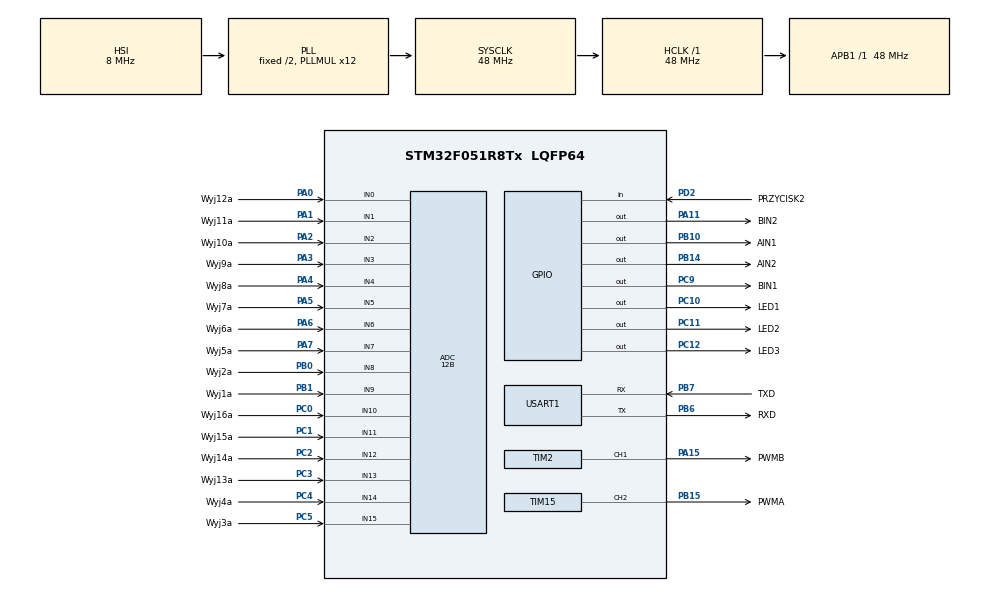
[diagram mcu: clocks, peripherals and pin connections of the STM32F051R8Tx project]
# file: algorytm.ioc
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ADC.ClockPrescaler=ADC_CLOCK_ASYNC_DIV1
ADC.ContinuousConvMode=ENABLE
ADC.DMAContinuousRequests=ENABLE
ADC.DataAlign=ADC_DATAALIGN_RIGHT
ADC.DiscontinuousConvMode=DISABLE
ADC.EOCSelection=ADC_EOC_SINGLE_CONV
ADC.EnableAnalogWatchDog=false
ADC.ExternalTrigConvEdge=ADC_EXTERNALTRIGCONVEDGE_NONE
ADC.LowPowerAutoPowerOff=DISABLE
ADC.LowPowerAutoWait=DISABLE
ADC.Overrun=ADC_OVR_DATA_PRESERVED
ADC.Resolution=ADC_RESOLUTION_12B
ADC.SamplingTime=ADC_SAMPLETIME_239CYCLES_5
ADC.ScanConvMode=ADC_SCAN_DIRECTION_FORWARD
Dma.ADC.0.Direction=DMA_PERIPH_TO_MEMORY
Dma.ADC.0.Instance=DMA1_Channel1
Dma.ADC.0.MemDataAlignment=DMA_MDATAALIGN_WORD
Dma.ADC.0.MemInc=DMA_MINC_ENABLE
Dma.ADC.0.Mode=DMA_CIRCULAR
Dma.ADC.0.PeriphDataAlignment=DMA_PDATAALIGN_WORD
Dma.ADC.0.PeriphInc=DMA_PINC_DISABLE
Dma.ADC.0.Priority=DMA_PRIORITY_LOW
Dma.Request0=ADC
Mcu.Family=STM32F0
Mcu.Name=STM32F051R8Tx
Mcu.Package=LQFP64
NVIC.DMA1_Channel1_IRQn=true\:0\:0\:false\:false\:true
NVIC.TIM16_IRQn=true\:0\:0\:false\:false\:true
NVIC.USART1_IRQn=true\:0\:0\:false\:false\:true
PA0.GPIO_Label=Wyj12a
PA0.Mode=IN0
PA0.Signal=ADC_IN0
PA1.GPIO_Label=Wyj11a
PA1.Mode=IN1
PA1.Signal=ADC_IN1
PA11.GPIO_Label=BIN2
PA11.Signal=GPIO_Output
PA13.Mode=Serial_Wire
PA13.Signal=SYS_SWDIO
PA14.Mode=Serial_Wire
PA14.Signal=SYS_SWCLK
PA15.GPIO_Label=PWMB
PA15.Signal=S_TIM2_CH1_ETR
PA2.GPIO_Label=Wyj10a
PA2.Mode=IN2
PA2.Signal=ADC_IN2
PA3.GPIO_Label=Wyj9a
PA3.Mode=IN3
PA3.Signal=ADC_IN3
PA4.GPIO_Label=Wyj8a
PA4.Mode=IN4
PA4.Signal=ADC_IN4
PA5.GPIO_Label=Wyj7a
PA5.Mode=IN5
PA5.Signal=ADC_IN5
PA6.GPIO_Label=Wyj6a
PA6.Mode=IN6
PA6.Signal=ADC_IN6
PA7.GPIO_Label=Wyj5a
PA7.Mode=IN7
PA7.Signal=ADC_IN7
PB0.GPIO_Label=Wyj2a
PB0.Mode=IN8
PB0.Signal=ADC_IN8
PB1.GPIO_Label=Wyj1a
PB1.Mode=IN9
PB1.Signal=ADC_IN9
PB10.GPIO_Label=AIN1
PB10.Signal=GPIO_Output
PB14.GPIO_Label=AIN2
PB14.Signal=GPIO_Output
PB15.GPIO_Label=PWMA
PB15.Signal=S_TIM15_CH2
PB6.GPIO_Label=RXD
PB6.Mode=Asynchronous
PB6.Signal=USART1_TX
PB7.GPIO_Label=TXD
PB7.Mode=Asynchronous
PB7.Signal=USART1_RX
PC0.GPIO_Label=Wyj16a
PC0.Mode=IN10
PC0.Signal=ADC_IN10
PC1.GPIO_Label=Wyj15a
PC1.Mode=IN11
PC1.Signal=ADC_IN11
PC10.GPIO_Label=LED1
PC10.Signal=GPIO_Output
PC11.GPIO_Label=LED2
PC11.Signal=GPIO_Output
PC12.GPIO_Label=LED3
PC12.Signal=GPIO_Output
PC2.GPIO_Label=Wyj14a
PC2.Mode=IN12
PC2.Signal=ADC_IN12
PC3.GPIO_Label=Wyj13a
PC3.Mode=IN13
PC3.Signal=ADC_IN13
PC4.GPIO_Label=Wyj4a
PC4.Mode=IN14
PC4.Signal=ADC_IN14
PC5.GPIO_Label=Wyj3a
PC5.Mode=IN15
PC5.Signal=ADC_IN15
PC9.GPIO_Label=BIN1
PC9.Signal=GPIO_Output
PD2.GPIO_Label=PRZYCISK2
PD2.Signal=GPIO_Input
ProjectManager.HeapSize=0x200
ProjectManager.StackSize=0x400
ProjectManager.TargetToolchain=SW4STM32
RCC.AHBFreq_Value=48000000
RCC.APB1Freq_Value=48000000
RCC.APB1TimFreq_Value=48000000
RCC.HCLKFreq_Value=48000000
RCC.PLLMUL=RCC_PLL_MUL12
RCC.SYSCLKFreq_VALUE=48000000
RCC.SYSCLKSource=RCC_SYSCLKSOURCE_PLLCLK
SH.S_TIM15_CH2.0=TIM15_CH2,PWM Generation2 CH2
SH.S_TIM2_CH1_ETR.0=TIM2_CH1,PWM Generation1 CH1
TIM15.Channel-PWM\ Generation2\ CH2=TIM_CHANNEL_2
TIM15.Period=999
TIM15.Prescaler=47
TIM16.Period=9999
TIM16.Prescaler=47
TIM2.Period=999
TIM2.Prescaler=47
VP_TIM15_VS_ClockSourceINT.Mode=Internal
VP_TIM16_VS_ClockSourceINT.Mode=Enable_Timer
VP_TIM2_VS_ClockSourceINT.Mode=Internal
board=algorytm

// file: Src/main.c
/**
 ******************************************************************************
 * File Name          : main.c
 * Description        : Main program body
 ******************************************************************************
 *
 * COPYRIGHT(c) 2016 STMicroelectronics
 *
 * Redistribution and use in source and binary forms, with or without modification,
 * are permitted provided that the following conditions are met:
 *   1. Redistributions of source code must retain the above copyright notice,
 *      this list of conditions and the following disclaimer.
 *   2. Redistributions in binary form must reproduce the above copyright notice,
 *      this list of conditions and the following disclaimer in the documentation
 *      and/or other materials provided with the distribution.
 *   3. Neither the name of STMicroelectronics nor the names of its contributors
 *      may be used to endorse or promote products derived from this software
 *      without specific prior written permission.
 *
 * THIS SOFTWARE IS PROVIDED BY THE COPYRIGHT HOLDERS AND CONTRIBUTORS "AS IS"
 * AND ANY EXPRESS OR IMPLIED WARRANTIES, INCLUDING, BUT NOT LIMITED TO, THE
 * IMPLIED WARRANTIES OF MERCHANTABILITY AND FITNESS FOR A PARTICULAR PURPOSE ARE
 * DISCLAIMED. IN NO EVENT SHALL THE COPYRIGHT HOLDER OR CONTRIBUTORS BE LIABLE
 * FOR ANY DIRECT, INDIRECT, INCIDENTAL, SPECIAL, EXEMPLARY, OR CONSEQUENTIAL
 * DAMAGES (INCLUDING, BUT NOT LIMITED TO, PROCUREMENT OF SUBSTITUTE GOODS OR
 * SERVICES; LOSS OF USE, DATA, OR PROFITS; OR BUSINESS INTERRUPTION) HOWEVER
 * CAUSED AND ON ANY THEORY OF LIABILITY, WHETHER IN CONTRACT, STRICT LIABILITY,
 * OR TORT (INCLUDING NEGLIGENCE OR OTHERWISE) ARISING IN ANY WAY OUT OF THE USE
 * OF THIS SOFTWARE, EVEN IF ADVISED OF THE POSSIBILITY OF SUCH DAMAGE.
 *
 ******************************************************************************
 */
#include "main.h"
#include "stm32f0xx_hal.h"

ADC_HandleTypeDef hadc;
DMA_HandleTypeDef hdma_adc;

TIM_HandleTypeDef htim2;
TIM_HandleTypeDef htim15;
TIM_HandleTypeDef htim16;

UART_HandleTypeDef huart1;

/* USER CODE BEGIN PV */
/* Private variables ---------------------------------------------------------*/

/* USER CODE END PV */

void SystemClock_Config(void);
void Error_Handler(void);
static void MX_GPIO_Init(void);
static void MX_DMA_Init(void);
static void MX_ADC_Init(void);
static void MX_TIM2_Init(void);
static void MX_TIM15_Init(void);
static void MX_USART1_UART_Init(void);
static void MX_TIM16_Init(void);

void HAL_TIM_MspPostInit(TIM_HandleTypeDef *htim);

/* USER CODE BEGIN PFP */
/* Private function prototypes -----------------------------------------------*/

uint32_t ADCData[16];
uint16_t Limit = 2500;
int16_t KTIRLine[16];
int16_t Weight[16];
volatile int16_t Error = 0;
uint16_t Speed = 900;
uint16_t P = 20 , D = 8;
uint16_t devide = 0;
volatile int16_t preverror = 0;
volatile int16_t derivative = 0;
int16_t Left, Right;
volatile uint8_t Start = 0;

/* USER CODE END PFP */

/* USER CODE BEGIN 0 */

void HAL_TIM_PeriodElapsedCallback(TIM_HandleTypeDef *htim) {
	if (htim->Instance == TIM16) {
		Error = 0;
		for (int i = 0; i < 16; ++i) {
			if (ADCData[i] > Limit) {
				KTIRLine[i] = 1;
			} else {
				KTIRLine[i] = 0;
			}
		}

		devide = 0;

		for (int i = 0; i < 16; ++i) {
			devide += KTIRLine[i];
			Error += KTIRLine[i] * Weight[i];
		}

		if (devide == 0) {
			Error = preverror;

			Right = Speed - Error * P;
			Left = Speed + Error * P;

		} else {

			derivative = Error - preverror;

			Error /= devide;

			Right = Speed - Error * P - derivative * D;
			Left = Speed + Error  * P + derivative * D;

			if (Right > 0) {

				HAL_GPIO_WritePin(BIN1_GPIO_Port, BIN1_Pin, 0);
				HAL_GPIO_WritePin(BIN2_GPIO_Port, BIN2_Pin, 1);

				if (Right > 1000) {
					Right = 999;
				}
			} else if (Right < 0) {

				HAL_GPIO_WritePin(BIN1_GPIO_Port, BIN1_Pin, 1);
				HAL_GPIO_WritePin(BIN2_GPIO_Port, BIN2_Pin, 0);
				Right = -Right;
				if (Right > 1000) {
					Right = 999;
				}
			}
			TIM2->CCR1 = Right;

			if (Left > 0) {
				HAL_GPIO_WritePin(AIN1_GPIO_Port, AIN1_Pin, 1);
				HAL_GPIO_WritePin(AIN2_GPIO_Port, AIN2_Pin, 0);

				if (Left > 1000) {
					Left = 999;
				}
			} else if (Left < 0) {
				HAL_GPIO_WritePin(AIN1_GPIO_Port, AIN1_Pin, 0);
				HAL_GPIO_WritePin(AIN2_GPIO_Port, AIN2_Pin, 1);
				Left = -Left;
				if (Left > 1000)
					Left = 999;
			}
			TIM15->CCR2 = Left;

			HAL_GPIO_WritePin(LED2_GPIO_Port, LED2_Pin, GPIO_PIN_SET);

			preverror = Error;
		}
	}
}

/* USER CODE END 0 */

int main(void)
{

	/* MCU Configuration----------------------------------------------------------*/

	/* Reset of all peripherals, Initializes the Flash interface and the Systick. */
	HAL_Init();

	/* Configure the system clock */
	SystemClock_Config();

	/* Initialize all configured peripherals */
	MX_GPIO_Init();
	MX_DMA_Init();
	MX_ADC_Init();
	MX_TIM2_Init();
	MX_TIM15_Init();
	MX_USART1_UART_Init();
	MX_TIM16_Init();

	/* USER CODE BEGIN 2 */

	HAL_TIM_PWM_Start(&htim2, TIM_CHANNEL_1);
	HAL_TIM_PWM_Start(&htim15, TIM_CHANNEL_2);
	HAL_ADC_Start_DMA(&hadc, (uint32_t*) ADCData, 16);
	/*HAL_GPIO_WritePin(AIN1_GPIO_Port, AIN1_Pin, 1);
	HAL_GPIO_WritePin(AIN2_GPIO_Port, AIN2_Pin, 0);
	HAL_GPIO_WritePin(BIN1_GPIO_Port, BIN1_Pin, 0);
	HAL_GPIO_WritePin(BIN2_GPIO_Port, BIN2_Pin, 1);*/
	HAL_Delay(3000);
	HAL_TIM_Base_Start_IT(&htim16);

	/*ADCData[9] = KTIR[0];
	 ADCData[8] = KTIR[1];
	 ADCData[15] = KTIR[2];
	 ADCData[14] = KTIR[3];
	 ADCData[7] = KTIR[4];
	 ADCData[6] = KTIR[5];
	 ADCData[5] = KTIR[6];
	 ADCData[4] = KTIR[7];  Srodkowe
	 ADCData[3] = KTIR[8];  Srodkowe
	 ADCData[2] = KTIR[9];
	 ADCData[1] = KTIR[10];
	 ADCData[0] = KTIR[11];
	 ADCData[13] = KTIR[12];
	 ADCData[12] = KTIR[13];
	 ADCData[11] = KTIR[14];
	 ADCData[10] = KTIR[15];*/

	Weight[4] = -6;
	Weight[5] = -12;
	Weight[6] = -18;
	Weight[7] = -24;
	Weight[14] = -30;
	Weight[15] = -36;
	Weight[8] = -42;
	Weight[9] = -50;

	Weight[3] = 6;
	Weight[2] = 12;
	Weight[1] = 18;
	Weight[0] = 24;
	Weight[13] = 30;
	Weight[12] = 36;
	Weight[11] = 42;
	Weight[10] = 50;

	/*HAL_Delay(5000);

	HAL_GPIO_WritePin(LED3_GPIO_Port, LED3_Pin, 1);*/

	/* USER CODE END 2 */

	/* Infinite loop */
	/* USER CODE BEGIN WHILE */
	while (1) {

		//TIM2->CCR1 = 1000; //PRAWY

		/*TIM2->CCR1 = Speed - (Error / devide) * P - derivative * D;
		TIM15->CCR2 = Speed + (Error / devide) * P + derivative * D;*/

		/*Error = 0;
		for (int i = 0; i < 16; ++i) {
			if (ADCData[i] > Limit) {
				KTIRLine[i] = 1;
			} else {
				KTIRLine[i] = 0;
			}
		}

		devide = 0;

		for (int i = 0; i < 16; ++i) {
			devide += KTIRLine[i];
			Error += KTIRLine[i] * Weight[i];
		}

		derivative = Error - preverror;

		TIM2->CCR1 = Speed - (Error / devide) * P - derivative * D;
		TIM15->CCR2 = Speed + (Error / devide) * P + derivative * D;

		HAL_GPIO_WritePin(LED2_GPIO_Port, LED2_Pin, GPIO_PIN_SET);

		preverror = Error;*/

		/* USER CODE END WHILE */

	}

}

/** System Clock Configuration
 */
void SystemClock_Config(void)
{

	RCC_OscInitTypeDef RCC_OscInitStruct;
	RCC_ClkInitTypeDef RCC_ClkInitStruct;
	RCC_PeriphCLKInitTypeDef PeriphClkInit;

	/**Initializes the CPU, AHB and APB busses clocks
	 */
	RCC_OscInitStruct.OscillatorType = RCC_OSCILLATORTYPE_HSI|RCC_OSCILLATORTYPE_HSI14;
	RCC_OscInitStruct.HSIState = RCC_HSI_ON;
	RCC_OscInitStruct.HSI14State = RCC_HSI14_ON;
	RCC_OscInitStruct.HSICalibrationValue = 16;
	RCC_OscInitStruct.HSI14CalibrationValue = 16;
	RCC_OscInitStruct.PLL.PLLState = RCC_PLL_ON;
	RCC_OscInitStruct.PLL.PLLSource = RCC_PLLSOURCE_HSI;
	RCC_OscInitStruct.PLL.PLLMUL = RCC_PLL_MUL12;
	RCC_OscInitStruct.PLL.PREDIV = RCC_PREDIV_DIV1;
	if (HAL_RCC_OscConfig(&RCC_OscInitStruct) != HAL_OK)
	{
		Error_Handler();
	}

	/**Initializes the CPU, AHB and APB busses clocks
	 */
	RCC_ClkInitStruct.ClockType = RCC_CLOCKTYPE_HCLK|RCC_CLOCKTYPE_SYSCLK
			|RCC_CLOCKTYPE_PCLK1;
	RCC_ClkInitStruct.SYSCLKSource = RCC_SYSCLKSOURCE_PLLCLK;
	RCC_ClkInitStruct.AHBCLKDivider = RCC_SYSCLK_DIV1;
	RCC_ClkInitStruct.APB1CLKDivider = RCC_HCLK_DIV1;

	if (HAL_RCC_ClockConfig(&RCC_ClkInitStruct, FLASH_LATENCY_1) != HAL_OK)
	{
		Error_Handler();
	}

	PeriphClkInit.PeriphClockSelection = RCC_PERIPHCLK_USART1;
	PeriphClkInit.Usart1ClockSelection = RCC_USART1CLKSOURCE_PCLK1;
	if (HAL_RCCEx_PeriphCLKConfig(&PeriphClkInit) != HAL_OK)
	{
		Error_Handler();
	}

	/**Configure the Systick interrupt time
	 */
	HAL_SYSTICK_Config(HAL_RCC_GetHCLKFreq()/1000);

	/**Configure the Systick
	 */
	HAL_SYSTICK_CLKSourceConfig(SYSTICK_CLKSOURCE_HCLK);

	/* SysTick_IRQn interrupt configuration */
	HAL_NVIC_SetPriority(SysTick_IRQn, 0, 0);
}

/* ADC init function */
static void MX_ADC_Init(void)
{

	ADC_ChannelConfTypeDef sConfig;

	/**Configure the global features of the ADC (Clock, Resolution, Data Alignment and number of conversion)
	 */
	hadc.Instance = ADC1;
	hadc.Init.ClockPrescaler = ADC_CLOCK_ASYNC_DIV1;
	hadc.Init.Resolution = ADC_RESOLUTION_12B;
	hadc.Init.DataAlign = ADC_DATAALIGN_RIGHT;
	hadc.Init.ScanConvMode = ADC_SCAN_DIRECTION_FORWARD;
	hadc.Init.EOCSelection = ADC_EOC_SINGLE_CONV;
	hadc.Init.LowPowerAutoWait = DISABLE;
	hadc.Init.LowPowerAutoPowerOff = DISABLE;
	hadc.Init.ContinuousConvMode = ENABLE;
	hadc.Init.DiscontinuousConvMode = DISABLE;
	hadc.Init.ExternalTrigConvEdge = ADC_EXTERNALTRIGCONVEDGE_NONE;
	hadc.Init.DMAContinuousRequests = ENABLE;
	hadc.Init.Overrun = ADC_OVR_DATA_PRESERVED;
	if (HAL_ADC_Init(&hadc) != HAL_OK)
	{
		Error_Handler();
	}

	/**Configure for the selected ADC regular channel to be converted.
	 */
	sConfig.Channel = ADC_CHANNEL_0;
	sConfig.Rank = ADC_RANK_CHANNEL_NUMBER;
	sConfig.SamplingTime = ADC_SAMPLETIME_239CYCLES_5;
	if (HAL_ADC_ConfigChannel(&hadc, &sConfig) != HAL_OK)
	{
		Error_Handler();
	}

	/**Configure for the selected ADC regular channel to be converted.
	 */
	sConfig.Channel = ADC_CHANNEL_1;
	if (HAL_ADC_ConfigChannel(&hadc, &sConfig) != HAL_OK)
	{
		Error_Handler();
	}

	/**Configure for the selected ADC regular channel to be converted.
	 */
	sConfig.Channel = ADC_CHANNEL_2;
	if (HAL_ADC_ConfigChannel(&hadc, &sConfig) != HAL_OK)
	{
		Error_Handler();
	}

	/**Configure for the selected ADC regular channel to be converted.
	 */
	sConfig.Channel = ADC_CHANNEL_3;
	if (HAL_ADC_ConfigChannel(&hadc, &sConfig) != HAL_OK)
	{
		Error_Handler();
	}

	/**Configure for the selected ADC regular channel to be converted.
	 */
	sConfig.Channel = ADC_CHANNEL_4;
	if (HAL_ADC_ConfigChannel(&hadc, &sConfig) != HAL_OK)
	{
		Error_Handler();
	}

	/**Configure for the selected ADC regular channel to be converted.
	 */
	sConfig.Channel = ADC_CHANNEL_5;
	if (HAL_ADC_ConfigChannel(&hadc, &sConfig) != HAL_OK)
	{
		Error_Handler();
	}

	/**Configure for the selected ADC regular channel to be converted.
	 */
	sConfig.Channel = ADC_CHANNEL_6;
	if (HAL_ADC_ConfigChannel(&hadc, &sConfig) != HAL_OK)
	{
		Error_Handler();
	}

	/**Configure for the selected ADC regular channel to be converted.
	 */
	sConfig.Channel = ADC_CHANNEL_7;
	if (HAL_ADC_ConfigChannel(&hadc, &sConfig) != HAL_OK)
	{
		Error_Handler();
	}

	/**Configure for the selected ADC regular channel to be converted.
	 */
	sConfig.Channel = ADC_CHANNEL_8;
	if (HAL_ADC_ConfigChannel(&hadc, &sConfig) != HAL_OK)
	{
		Error_Handler();
	}

	/**Configure for the selected ADC regular channel to be converted.
	 */
	sConfig.Channel = ADC_CHANNEL_9;
	if (HAL_ADC_ConfigChannel(&hadc, &sConfig) != HAL_OK)
	{
		Error_Handler();
	}

	/**Configure for the selected ADC regular channel to be converted.
	 */
	sConfig.Channel = ADC_CHANNEL_10;
	if (HAL_ADC_ConfigChannel(&hadc, &sConfig) != HAL_OK)
	{
		Error_Handler();
	}

	/**Configure for the selected ADC regular channel to be converted.
	 */
	sConfig.Channel = ADC_CHANNEL_11;
	if (HAL_ADC_ConfigChannel(&hadc, &sConfig) != HAL_OK)
	{
		Error_Handler();
	}

	/**Configure for the selected ADC regular channel to be converted.
	 */
	sConfig.Channel = ADC_CHANNEL_12;
	if (HAL_ADC_ConfigChannel(&hadc, &sConfig) != HAL_OK)
	{
		Error_Handler();
	}

	/**Configure for the selected ADC regular channel to be converted.
	 */
	sConfig.Channel = ADC_CHANNEL_13;
	if (HAL_ADC_ConfigChannel(&hadc, &sConfig) != HAL_OK)
	{
		Error_Handler();
	}

	/**Configure for the selected ADC regular channel to be converted.
	 */
	sConfig.Channel = ADC_CHANNEL_14;
	if (HAL_ADC_ConfigChannel(&hadc, &sConfig) != HAL_OK)
	{
		Error_Handler();
	}

	/**Configure for the selected ADC regular channel to be converted.
	 */
	sConfig.Channel = ADC_CHANNEL_15;
	if (HAL_ADC_ConfigChannel(&hadc, &sConfig) != HAL_OK)
	{
		Error_Handler();
	}

}

/* TIM2 init function */
static void MX_TIM2_Init(void)
{

	TIM_ClockConfigTypeDef sClockSourceConfig;
	TIM_MasterConfigTypeDef sMasterConfig;
	TIM_OC_InitTypeDef sConfigOC;

	htim2.Instance = TIM2;
	htim2.Init.Prescaler = 47;
	htim2.Init.CounterMode = TIM_COUNTERMODE_UP;
	htim2.Init.Period = 999;
	htim2.Init.ClockDivision = TIM_CLOCKDIVISION_DIV1;
	if (HAL_TIM_Base_Init(&htim2) != HAL_OK)
	{
		Error_Handler();
	}

	sClockSourceConfig.ClockSource = TIM_CLOCKSOURCE_INTERNAL;
	if (HAL_TIM_ConfigClockSource(&htim2, &sClockSourceConfig) != HAL_OK)
	{
		Error_Handler();
	}

	if (HAL_TIM_PWM_Init(&htim2) != HAL_OK)
	{
		Error_Handler();
	}

	sMasterConfig.MasterOutputTrigger = TIM_TRGO_RESET;
	sMasterConfig.MasterSlaveMode = TIM_MASTERSLAVEMODE_DISABLE;
	if (HAL_TIMEx_MasterConfigSynchronization(&htim2, &sMasterConfig) != HAL_OK)
	{
		Error_Handler();
	}

	sConfigOC.OCMode = TIM_OCMODE_PWM1;
	sConfigOC.Pulse = 0;
	sConfigOC.OCPolarity = TIM_OCPOLARITY_HIGH;
	sConfigOC.OCFastMode = TIM_OCFAST_DISABLE;
	if (HAL_TIM_PWM_ConfigChannel(&htim2, &sConfigOC, TIM_CHANNEL_1) != HAL_OK)
	{
		Error_Handler();
	}

	HAL_TIM_MspPostInit(&htim2);

}

/* TIM15 init function */
static void MX_TIM15_Init(void)
{

	TIM_ClockConfigTypeDef sClockSourceConfig;
	TIM_MasterConfigTypeDef sMasterConfig;
	TIM_OC_InitTypeDef sConfigOC;
	TIM_BreakDeadTimeConfigTypeDef sBreakDeadTimeConfig;

	htim15.Instance = TIM15;
	htim15.Init.Prescaler = 47;
	htim15.Init.CounterMode = TIM_COUNTERMODE_UP;
	htim15.Init.Period = 999;
	htim15.Init.ClockDivision = TIM_CLOCKDIVISION_DIV1;
	htim15.Init.RepetitionCounter = 0;
	if (HAL_TIM_Base_Init(&htim15) != HAL_OK)
	{
		Error_Handler();
	}

	sClockSourceConfig.ClockSource = TIM_CLOCKSOURCE_INTERNAL;
	if (HAL_TIM_ConfigClockSource(&htim15, &sClockSourceConfig) != HAL_OK)
	{
		Error_Handler();
	}

	if (HAL_TIM_PWM_Init(&htim15) != HAL_OK)
	{
		Error_Handler();
	}

	sMasterConfig.MasterOutputTrigger = TIM_TRGO_RESET;
	sMasterConfig.MasterSlaveMode = TIM_MASTERSLAVEMODE_DISABLE;
	if (HAL_TIMEx_MasterConfigSynchronization(&htim15, &sMasterConfig) != HAL_OK)
	{
		Error_Handler();
	}

	sConfigOC.OCMode = TIM_OCMODE_PWM1;
	sConfigOC.Pulse = 0;
	sConfigOC.OCPolarity = TIM_OCPOLARITY_HIGH;
	sConfigOC.OCNPolarity = TIM_OCNPOLARITY_HIGH;
	sConfigOC.OCFastMode = TIM_OCFAST_DISABLE;
	sConfigOC.OCIdleState = TIM_OCIDLESTATE_RESET;
	sConfigOC.OCNIdleState = TIM_OCNIDLESTATE_RESET;
	if (HAL_TIM_PWM_ConfigChannel(&htim15, &sConfigOC, TIM_CHANNEL_2) != HAL_OK)
	{
		Error_Handler();
	}

	sBreakDeadTimeConfig.OffStateRunMode = TIM_OSSR_DISABLE;
	sBreakDeadTimeConfig.OffStateIDLEMode = TIM_OSSI_DISABLE;
	sBreakDeadTimeConfig.LockLevel = TIM_LOCKLEVEL_OFF;
	sBreakDeadTimeConfig.DeadTime = 0;
	sBreakDeadTimeConfig.BreakState = TIM_BREAK_DISABLE;
	sBreakDeadTimeConfig.BreakPolarity = TIM_BREAKPOLARITY_HIGH;
	sBreakDeadTimeConfig.AutomaticOutput = TIM_AUTOMATICOUTPUT_DISABLE;
	if (HAL_TIMEx_ConfigBreakDeadTime(&htim15, &sBreakDeadTimeConfig) != HAL_OK)
	{
		Error_Handler();
	}

	HAL_TIM_MspPostInit(&htim15);

}

/* TIM16 init function */
static void MX_TIM16_Init(void)
{

	htim16.Instance = TIM16;
	htim16.Init.Prescaler = 47;
	htim16.Init.CounterMode = TIM_COUNTERMODE_UP;
	htim16.Init.Period = 9999;
	htim16.Init.ClockDivision = TIM_CLOCKDIVISION_DIV1;
	htim16.Init.RepetitionCounter = 0;
	if (HAL_TIM_Base_Init(&htim16) != HAL_OK)
	{
		Error_Handler();
	}

}

/* USART1 init function */
static void MX_USART1_UART_Init(void)
{

	huart1.Instance = USART1;
	huart1.Init.BaudRate = 38400;
	huart1.Init.WordLength = UART_WORDLENGTH_8B;
	huart1.Init.StopBits = UART_STOPBITS_1;
	huart1.Init.Parity = UART_PARITY_NONE;
	huart1.Init.Mode = UART_MODE_TX_RX;
	huart1.Init.HwFlowCtl = UART_HWCONTROL_NONE;
	huart1.Init.OverSampling = UART_OVERSAMPLING_16;
	huart1.Init.OneBitSampling = UART_ONE_BIT_SAMPLE_DISABLE;
	huart1.AdvancedInit.AdvFeatureInit = UART_ADVFEATURE_NO_INIT;
	if (HAL_UART_Init(&huart1) != HAL_OK)
	{
		Error_Handler();
	}

}

static void MX_DMA_Init(void)
{
	/* DMA controller clock enable */
	__HAL_RCC_DMA1_CLK_ENABLE();

	/* DMA interrupt init */
	/* DMA1_Channel1_IRQn interrupt configuration */
	HAL_NVIC_SetPriority(DMA1_Channel1_IRQn, 0, 0);
	HAL_NVIC_EnableIRQ(DMA1_Channel1_IRQn);

}

/** Configure pins as
 * Analog
 * Input
 * Output
 * EVENT_OUT
 * EXTI
 */
static void MX_GPIO_Init(void)
{

	GPIO_InitTypeDef GPIO_InitStruct;

	/* GPIO Ports Clock Enable */
	__HAL_RCC_GPIOC_CLK_ENABLE();
	__HAL_RCC_GPIOA_CLK_ENABLE();
	__HAL_RCC_GPIOB_CLK_ENABLE();
	__HAL_RCC_GPIOD_CLK_ENABLE();

	/*Configure GPIO pin Output Level */
	HAL_GPIO_WritePin(GPIOB, AIN1_Pin|AIN2_Pin, GPIO_PIN_RESET);

	/*Configure GPIO pin Output Level */
	HAL_GPIO_WritePin(GPIOC, BIN1_Pin|LED1_Pin|LED2_Pin|LED3_Pin, GPIO_PIN_RESET);

	/*Configure GPIO pin Output Level */
	HAL_GPIO_WritePin(BIN2_GPIO_Port, BIN2_Pin, GPIO_PIN_RESET);

	/*Configure GPIO pins : AIN1_Pin AIN2_Pin */
	GPIO_InitStruct.Pin = AIN1_Pin|AIN2_Pin;
	GPIO_InitStruct.Mode = GPIO_MODE_OUTPUT_PP;
	GPIO_InitStruct.Pull = GPIO_NOPULL;
	GPIO_InitStruct.Speed = GPIO_SPEED_FREQ_LOW;
	HAL_GPIO_Init(GPIOB, &GPIO_InitStruct);

	/*Configure GPIO pins : BIN1_Pin LED1_Pin LED2_Pin LED3_Pin */
	GPIO_InitStruct.Pin = BIN1_Pin|LED1_Pin|LED2_Pin|LED3_Pin;
	GPIO_InitStruct.Mode = GPIO_MODE_OUTPUT_PP;
	GPIO_InitStruct.Pull = GPIO_NOPULL;
	GPIO_InitStruct.Speed = GPIO_SPEED_FREQ_LOW;
	HAL_GPIO_Init(GPIOC, &GPIO_InitStruct);

	/*Configure GPIO pin : BIN2_Pin */
	GPIO_InitStruct.Pin = BIN2_Pin;
	GPIO_InitStruct.Mode = GPIO_MODE_OUTPUT_PP;
	GPIO_InitStruct.Pull = GPIO_NOPULL;
	GPIO_InitStruct.Speed = GPIO_SPEED_FREQ_LOW;
	HAL_GPIO_Init(BIN2_GPIO_Port, &GPIO_InitStruct);

	/*Configure GPIO pin : PRZYCISK2_Pin */
	GPIO_InitStruct.Pin = PRZYCISK2_Pin;
	GPIO_InitStruct.Mode = GPIO_MODE_INPUT;
	GPIO_InitStruct.Pull = GPIO_NOPULL;
	HAL_GPIO_Init(PRZYCISK2_GPIO_Port, &GPIO_InitStruct);

}

void Error_Handler(void)
{
	while (1) {
	}
}

/************************ (C) COPYRIGHT STMicroelectronics *****END OF FILE****/
